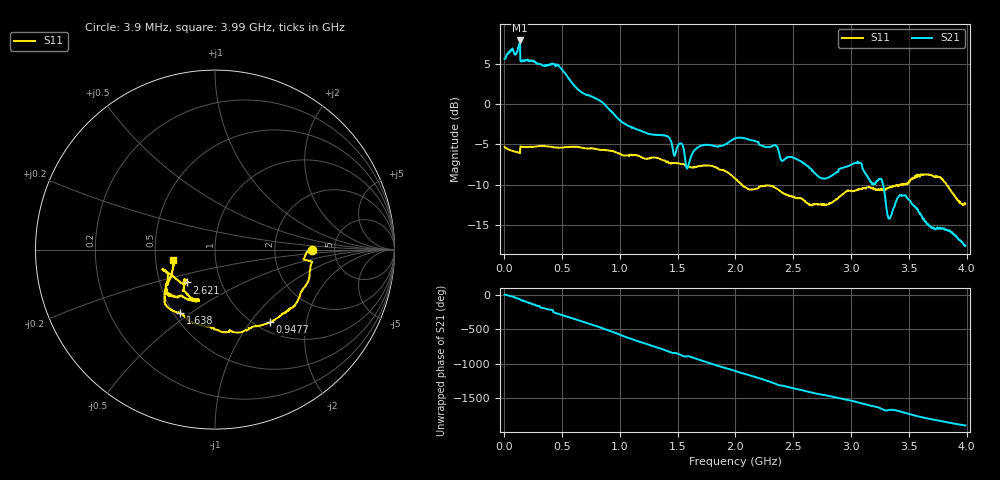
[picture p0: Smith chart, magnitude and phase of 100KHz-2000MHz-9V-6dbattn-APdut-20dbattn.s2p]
# HZ S RI R 50
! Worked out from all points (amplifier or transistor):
!   1023 points, 3.9 MHz to 3.99 GHz, reference 50 ohm
!   highest |S21| = 7.9 dB at 136.5 MHz (marker M1)
!   |S21| within 3 dB of that: start of sweep to 323.3 MHz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
!   S11 on the Smith chart (normalised r, x): 3.9 MHz: 3.36, -0.01; 947.7 MHz: 1.15, -1.25; 1.638 GHz: 0.54, -0.45; 2.621 GHz: 0.69, -0.27; 3.99 GHz: 0.62, -0.08
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3900000  0.5418 -0.00124  1.905 -0.00524  0 0  0 0
6.63e7  0.5122 -0.0144  1.95 -0.9747  0 0  0 0
1.365e8  0.4919 -0.0549  0.8716 -2.319  0 0  0 0
2.925e8  0.5264 -0.1473  -1.732 -0.3837  0 0  0 0
4.017e8  0.5035 -0.2042  -1.305 1.162  0 0  0 0
4.446e8  0.4886 -0.2229  -0.1082 1.728  0 0  0 0
5.538e8  0.464 -0.2778  1.188 0.8369  0 0  0 0
6.708e8  0.4241 -0.3264  1.047 -0.5461  0 0  0 0
7.995e8  0.391 -0.3502  -0.1301 -1.065  0 0  0 0
9.477e8  0.3058 -0.4053  -0.8614 0.0903  0 0  0 0
1.092e9  0.1835 -0.4475  0.0884 0.7159  0 0  0 0
1.3338e9  0.04 -0.4587  0.4026 -0.5004  0 0  0 0
1.638e9  -0.1952 -0.3525  -0.4891 0.1348  0 0  0 0
1.794e9  -0.2755 -0.307  0.1061 0.5428  0 0  0 0
1.9968e9  -0.2744 -0.2097  0.559 -0.2457  0 0  0 0
2.1411e9  -0.2633 -0.1313  -0.0729 -0.5914  0 0  0 0
2.2893e9  -0.291 -0.1118  -0.5391 -0.0318  0 0  0 0
2.6208e9  -0.1579 -0.1829  0.3203 0.2619  0 0  0 0
2.6637e9  -0.1609 -0.1706  0.354 0.1429  0 0  0 0
3.0069e9  -0.1699 -0.2335  -0.0523 -0.4184  0 0  0 0
3.3267e9  -0.0949 -0.2862  -0.1251 0.1486  0 0  0 0
3.9897e9  -0.2329 -0.0582  -0.00708 -0.1323  0 0  0 0
